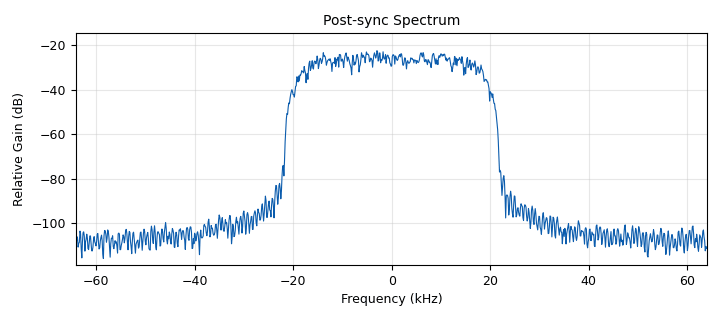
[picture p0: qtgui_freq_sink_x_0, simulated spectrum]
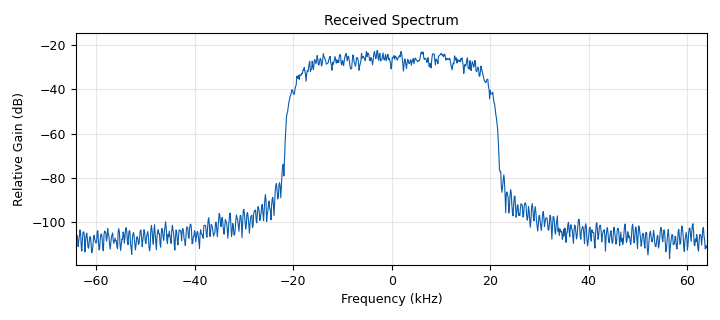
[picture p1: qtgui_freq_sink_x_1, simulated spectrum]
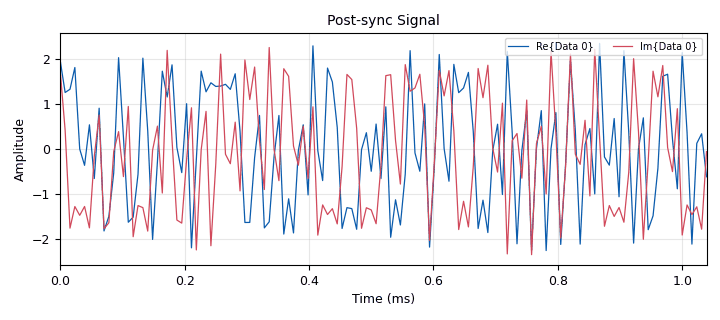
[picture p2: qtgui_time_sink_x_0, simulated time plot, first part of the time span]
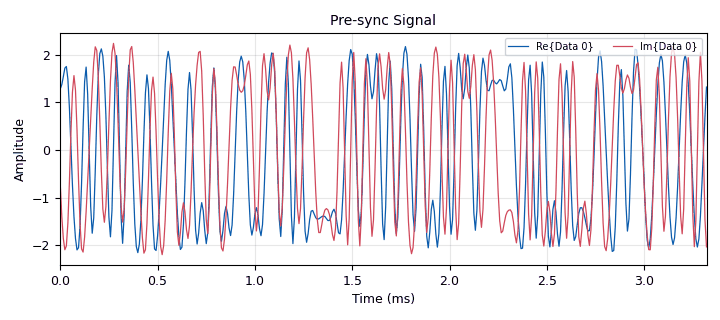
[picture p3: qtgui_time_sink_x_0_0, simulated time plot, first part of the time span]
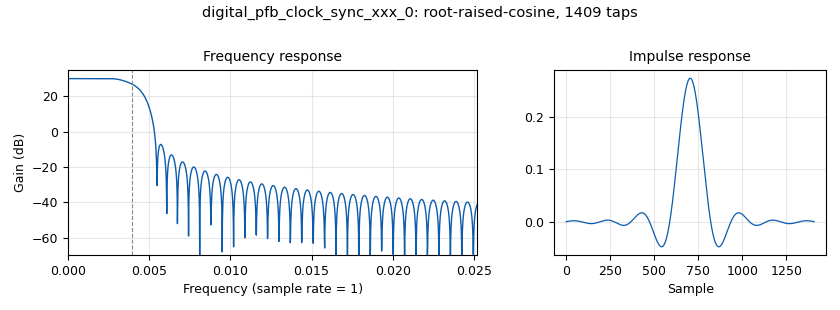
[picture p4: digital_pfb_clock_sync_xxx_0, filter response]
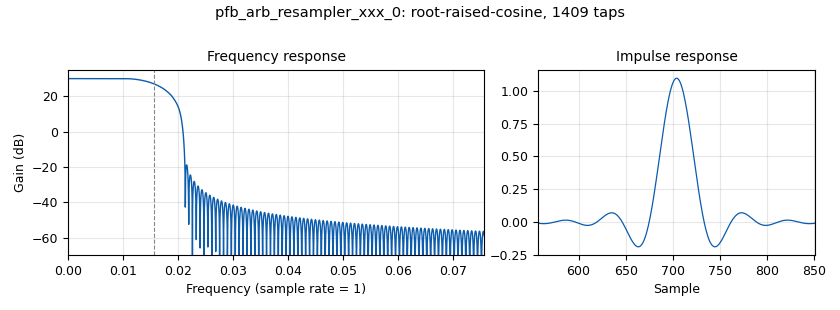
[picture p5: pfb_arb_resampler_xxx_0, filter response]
<?xml version='1.0' encoding='utf-8'?>
<?grc format='1' created='3.7.13'?>
<flow_graph>
<block>
<key>options</key>
<param><key>id</key><value>pam_sync</value></param>
<param><key>category</key><value>Custom</value></param>
<param><key>generate_options</key><value>qt_gui</value></param>
</block>
<block>
<key>variable</key>
<param><key>id</key><value>const</value></param>
<param><key>value</key><value>digital.qpsk_constellation()</value></param>
</block>
<block>
<key>variable_qtgui_range</key>
<param><key>id</key><value>freq_bw</value></param>
<param><key>value</key><value>0</value></param>
<param><key>gui_hint</key><value>4,2,1,1</value></param>
<param><key>label</key><value>FLL Bandwidth</value></param>
<param><key>orient</key><value>Qt.Horizontal</value></param>
<param><key>start</key><value>0</value></param>
<param><key>step</key><value>.001</value></param>
<param><key>stop</key><value>.05</value></param>
</block>
<block>
<key>variable_qtgui_range</key>
<param><key>id</key><value>freq_offset</value></param>
<param><key>value</key><value>0</value></param>
<param><key>gui_hint</key><value>2,2,1,1</value></param>
<param><key>label</key><value>Frequency Offset</value></param>
<param><key>orient</key><value>Qt.Horizontal</value></param>
<param><key>start</key><value>-.5</value></param>
<param><key>step</key><value>.01</value></param>
<param><key>stop</key><value>.5</value></param>
</block>
<block>
<key>variable_qtgui_range</key>
<param><key>id</key><value>interpratio</value></param>
<param><key>value</key><value>1</value></param>
<param><key>gui_hint</key><value>3,2,1,1</value></param>
<param><key>label</key><value>Timing Offset</value></param>
<param><key>orient</key><value>Qt.Horizontal</value></param>
<param><key>start</key><value>.99</value></param>
<param><key>step</key><value>0.0001</value></param>
<param><key>stop</key><value>1.01</value></param>
</block>
<block>
<key>variable</key>
<param><key>id</key><value>nfilts</value></param>
<param><key>value</key><value>32</value></param>
</block>
<block>
<key>variable_qtgui_range</key>
<param><key>id</key><value>noise_amp</value></param>
<param><key>value</key><value>0</value></param>
<param><key>gui_hint</key><value>1,2,1,1</value></param>
<param><key>label</key><value>Channel Noise</value></param>
<param><key>orient</key><value>Qt.Horizontal</value></param>
<param><key>start</key><value>0</value></param>
<param><key>step</key><value>.001</value></param>
<param><key>stop</key><value>1</value></param>
</block>
<block>
<key>variable_qtgui_range</key>
<param><key>id</key><value>phase_bw</value></param>
<param><key>value</key><value>0</value></param>
<param><key>gui_hint</key><value>7,2,1,1</value></param>
<param><key>label</key><value>Costas Loop (Phase) Bandwidth</value></param>
<param><key>orient</key><value>Qt.Horizontal</value></param>
<param><key>start</key><value>0</value></param>
<param><key>step</key><value>.001</value></param>
<param><key>stop</key><value>.1</value></param>
</block>
<block>
<key>variable</key>
<param><key>id</key><value>rolloff</value></param>
<param><key>value</key><value>0.35</value></param>
</block>
<block>
<key>variable</key>
<param><key>id</key><value>rrctaps</value></param>
<param><key>value</key><value>firdes.root_raised_cosine(nfilts,1.0,1.0/(nfilts*spb), rolloff, int(11*spb*nfilts))</value></param>
</block>
<block>
<key>variable</key>
<param><key>id</key><value>samp_rate</value></param>
<param><key>value</key><value>128000</value></param>
</block>
<block>
<key>variable</key>
<param><key>id</key><value>sig_amp</value></param>
<param><key>value</key><value>1.0</value></param>
</block>
<block>
<key>variable</key>
<param><key>id</key><value>spb</value></param>
<param><key>value</key><value>4.0</value></param>
</block>
<block>
<key>variable_qtgui_range</key>
<param><key>id</key><value>time_bw</value></param>
<param><key>value</key><value>0</value></param>
<param><key>gui_hint</key><value>5,2,1,1</value></param>
<param><key>label</key><value>Timing Loop BW</value></param>
<param><key>orient</key><value>Qt.Horizontal</value></param>
<param><key>start</key><value>0</value></param>
<param><key>step</key><value>.001</value></param>
<param><key>stop</key><value>.1</value></param>
</block>
<block>
<key>analog_random_source_x</key>
<param><key>id</key><value>analog_random_source_x</value></param>
<param><key>max</key><value>const.arity()</value></param>
<param><key>min</key><value>0</value></param>
<param><key>num_samps</key><value>10000000</value></param>
<param><key>type</key><value>byte</value></param>
<param><key>repeat</key><value>True</value></param>
</block>
<block>
<key>blocks_multiply_const_vxx</key>
<param><key>id</key><value>blocks_multiply_const_vxx_0</value></param>
<param><key>const</key><value>sig_amp</value></param>
<param><key>type</key><value>complex</value></param>
</block>
<block>
<key>blocks_throttle</key>
<param><key>id</key><value>blocks_throttle_0</value></param>
<param><key>samples_per_second</key><value>samp_rate</value></param>
<param><key>type</key><value>complex</value></param>
</block>
<block>
<key>channels_channel_model</key>
<param><key>id</key><value>channels_channel_model_0</value></param>
<param><key>epsilon</key><value>interpratio</value></param>
<param><key>freq_offset</key><value>freq_offset</value></param>
<param><key>noise_voltage</key><value>noise_amp</value></param>
<param><key>seed</key><value>42</value></param>
<param><key>taps</key><value>1.0</value></param>
</block>
<block>
<key>digital_chunks_to_symbols_xx</key>
<param><key>id</key><value>digital_chunks_to_symbols_xx</value></param>
<param><key>dimension</key><value>1</value></param>
<param><key>in_type</key><value>byte</value></param>
<param><key>out_type</key><value>complex</value></param>
<param><key>symbol_table</key><value>const.points()</value></param>
</block>
<block>
<key>digital_costas_loop_cc</key>
<param><key>id</key><value>digital_costas_loop_cc_0</value></param>
<param><key>w</key><value>phase_bw</value></param>
<param><key>order</key><value>const.arity()</value></param>
</block>
<block>
<key>digital_fll_band_edge_cc</key>
<param><key>id</key><value>digital_fll_band_edge_cc_0</value></param>
<param><key>rolloff</key><value>rolloff</value></param>
<param><key>w</key><value>freq_bw</value></param>
<param><key>filter_size</key><value>44</value></param>
<param><key>samps_per_sym</key><value>spb</value></param>
<param><key>type</key><value>cc</value></param>
</block>
<block>
<key>digital_pfb_clock_sync_xxx</key>
<param><key>id</key><value>digital_pfb_clock_sync_xxx_0</value></param>
<param><key>filter_size</key><value>nfilts</value></param>
<param><key>init_phase</key><value>16</value></param>
<param><key>loop_bw</key><value>time_bw</value></param>
<param><key>max_dev</key><value>1.5</value></param>
<param><key>osps</key><value>1</value></param>
<param><key>sps</key><value>spb</value></param>
<param><key>taps</key><value>rrctaps</value></param>
<param><key>type</key><value>ccf</value></param>
</block>
<block>
<key>qtgui_tab_widget</key>
<param><key>id</key><value>notebook</value></param>
<param><key>gui_hint</key><value>1,1,8,1</value></param>
<param><key>label0</key><value>Synched Signal</value></param>
<param><key>label1</key><value>Received Signal</value></param>
<param><key>num_tabs</key><value>2</value></param>
</block>
<block>
<key>pfb_arb_resampler_xxx</key>
<param><key>id</key><value>pfb_arb_resampler_xxx_0</value></param>
<param><key>nfilts</key><value>32</value></param>
<param><key>rrate</key><value>spb</value></param>
<param><key>atten</key><value>100</value></param>
<param><key>taps</key><value>firdes.root_raised_cosine(nfilts, 1.0, 1.0/nfilts, rolloff, int(11*spb*nfilts))</value></param>
<param><key>type</key><value>ccf</value></param>
</block>
<block>
<key>qtgui_freq_sink_x</key>
<param><key>id</key><value>qtgui_freq_sink_x_0</value></param>
<param><key>autoscale</key><value>True</value></param>
<param><key>average</key><value>0.2</value></param>
<param><key>bw</key><value>samp_rate</value></param>
<param><key>fc</key><value>0</value></param>
<param><key>fftsize</key><value>1024</value></param>
<param><key>gui_hint</key><value>notebook@0</value></param>
<param><key>name</key><value>Post-sync Spectrum</value></param>
<param><key>showports</key><value>True</value></param>
<param><key>type</key><value>complex</value></param>
<param><key>wintype</key><value>firdes.WIN_BLACKMAN_hARRIS</value></param>
</block>
<block>
<key>qtgui_freq_sink_x</key>
<param><key>id</key><value>qtgui_freq_sink_x_1</value></param>
<param><key>autoscale</key><value>True</value></param>
<param><key>average</key><value>0.2</value></param>
<param><key>bw</key><value>samp_rate</value></param>
<param><key>fc</key><value>0</value></param>
<param><key>fftsize</key><value>1024</value></param>
<param><key>gui_hint</key><value>notebook@1</value></param>
<param><key>name</key><value>Received Spectrum</value></param>
<param><key>showports</key><value>True</value></param>
<param><key>type</key><value>complex</value></param>
<param><key>wintype</key><value>firdes.WIN_BLACKMAN_hARRIS</value></param>
</block>
<block>
<key>qtgui_time_sink_x</key>
<param><key>id</key><value>qtgui_time_sink_x_0</value></param>
<param><key>autoscale</key><value>True</value></param>
<param><key>gui_hint</key><value>notebook@0</value></param>
<param><key>color1</key><value>"blue"</value></param>
<param><key>label1</key><value></value></param>
<param><key>color2</key><value>"red"</value></param>
<param><key>label2</key><value></value></param>
<param><key>name</key><value>Post-sync Signal</value></param>
<param><key>size</key><value>1024</value></param>
<param><key>srate</key><value>samp_rate</value></param>
<param><key>type</key><value>complex</value></param>
</block>
<block>
<key>qtgui_time_sink_x</key>
<param><key>id</key><value>qtgui_time_sink_x_0_0</value></param>
<param><key>autoscale</key><value>True</value></param>
<param><key>gui_hint</key><value>notebook@1</value></param>
<param><key>color1</key><value>"blue"</value></param>
<param><key>label1</key><value></value></param>
<param><key>color2</key><value>"red"</value></param>
<param><key>label2</key><value></value></param>
<param><key>name</key><value>Pre-sync Signal</value></param>
<param><key>size</key><value>1024</value></param>
<param><key>srate</key><value>samp_rate</value></param>
<param><key>type</key><value>complex</value></param>
</block>
<block>
<key>virtual_sink</key>
<param><key>id</key><value>virtual_sink_0</value></param>
<param><key>stream_id</key><value>input_signal_probe</value></param>
</block>
<block>
<key>virtual_source</key>
<param><key>id</key><value>virtual_source_0</value></param>
<param><key>stream_id</key><value>input_signal_probe</value></param>
</block>
<connection><source_block_id>analog_random_source_x</source_block_id><sink_block_id>digital_chunks_to_symbols_xx</sink_block_id><source_key>0</source_key><sink_key>0</sink_key></connection>
<connection><source_block_id>blocks_multiply_const_vxx_0</source_block_id><sink_block_id>blocks_throttle_0</sink_block_id><source_key>0</source_key><sink_key>0</sink_key></connection>
<connection><source_block_id>blocks_throttle_0</source_block_id><sink_block_id>channels_channel_model_0</sink_block_id><source_key>0</source_key><sink_key>0</sink_key></connection>
<connection><source_block_id>channels_channel_model_0</source_block_id><sink_block_id>digital_fll_band_edge_cc_0</sink_block_id><source_key>0</source_key><sink_key>0</sink_key></connection>
<connection><source_block_id>channels_channel_model_0</source_block_id><sink_block_id>virtual_sink_0</sink_block_id><source_key>0</source_key><sink_key>0</sink_key></connection>
<connection><source_block_id>digital_chunks_to_symbols_xx</source_block_id><sink_block_id>pfb_arb_resampler_xxx_0</sink_block_id><source_key>0</source_key><sink_key>0</sink_key></connection>
<connection><source_block_id>digital_costas_loop_cc_0</source_block_id><sink_block_id>qtgui_time_sink_x_0</sink_block_id><source_key>0</source_key><sink_key>0</sink_key></connection>
<connection><source_block_id>digital_fll_band_edge_cc_0</source_block_id><sink_block_id>digital_pfb_clock_sync_xxx_0</sink_block_id><source_key>0</source_key><sink_key>0</sink_key></connection>
<connection><source_block_id>digital_fll_band_edge_cc_0</source_block_id><sink_block_id>qtgui_freq_sink_x_0</sink_block_id><source_key>0</source_key><sink_key>0</sink_key></connection>
<connection><source_block_id>digital_pfb_clock_sync_xxx_0</source_block_id><sink_block_id>digital_costas_loop_cc_0</sink_block_id><source_key>0</source_key><sink_key>0</sink_key></connection>
<connection><source_block_id>pfb_arb_resampler_xxx_0</source_block_id><sink_block_id>blocks_multiply_const_vxx_0</sink_block_id><source_key>0</source_key><sink_key>0</sink_key></connection>
<connection><source_block_id>virtual_source_0</source_block_id><sink_block_id>qtgui_freq_sink_x_1</sink_block_id><source_key>0</source_key><sink_key>0</sink_key></connection>
<connection><source_block_id>virtual_source_0</source_block_id><sink_block_id>qtgui_time_sink_x_0_0</sink_block_id><source_key>0</source_key><sink_key>0</sink_key></connection>
</flow_graph>
